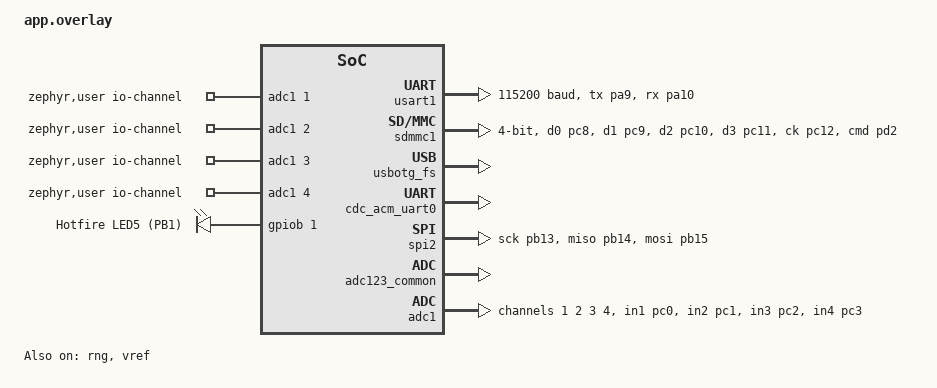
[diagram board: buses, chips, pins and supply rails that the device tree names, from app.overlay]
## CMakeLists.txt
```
cmake_minimum_required(VERSION 3.20.0)
find_package(Zephyr REQUIRED HINTS $ENV{ZEPHYR_BASE})
project(hotfire_logger)

target_sources(app PRIVATE
    src/main.cpp
    src/bsp.cpp
    src/app/fsm.cpp
    # Drivers
    src/drivers/led.cpp
    src/drivers/uart.cpp
    src/drivers/sd.cpp
    src/drivers/rtc.cpp
    src/drivers/thermocouples.cpp
    src/drivers/pressure.cpp
    src/app/fsm.cpp
    # States
    src/app/state/init_state.cpp
    src/app/state/led_on_state.cpp
    src/app/state/led_off_state.cpp
    src/app/state/error_state.cpp
    # Tasks
    src/app/telemetry.cpp
    src/app/rtc_uart.cpp
    src/app/sensor_logging.cpp
    # Shell Commands
    src/shell/disk.cpp
    src/shell/daq.cpp
    src/shell/sys.cpp
)

target_include_directories(app PRIVATE
    include
)
```

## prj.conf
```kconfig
# GPIO
CONFIG_GPIO=y

# C++17
CONFIG_CPP=y
CONFIG_STD_CPP17=y

# State Machine Framework
CONFIG_SMF=y

# UART Drivers
CONFIG_SERIAL=y
# USB CDC shell uses the interrupt API; USART1 exclusively uses async DMA.
CONFIG_UART_INTERRUPT_DRIVEN=y
CONFIG_UART_ASYNC_API=y
CONFIG_DMA=y
CONFIG_UART_LINE_CTRL=y

# Native USB CDC ACM
CONFIG_USB_DEVICE_STACK_NEXT=y
CONFIG_CDC_ACM_SERIAL_INITIALIZE_AT_BOOT=y
# Avoid recursive driver logging through the USB CDC shell backend.
CONFIG_USBD_CDC_ACM_LOG_LEVEL_OFF=y

# Zephyr Shell over USB CDC
CONFIG_SHELL=y
CONFIG_SHELL_BACKEND_SERIAL=y
CONFIG_SHELL_BACKEND_SERIAL_CHECK_DTR=y
CONFIG_SHELL_LOG_BACKEND=y
CONFIG_SHELL_PROMPT_UART="daq:~$ "

# Logging through the shell
CONFIG_LOG=y
CONFIG_LOG_MODE_DEFERRED=y
CONFIG_LOG_DEFAULT_LEVEL=3
CONFIG_LOG_PRINTK=y

# Avoid competing console backends
CONFIG_CONSOLE=n
CONFIG_UART_CONSOLE=n

# Optional diagnostics
CONFIG_KERNEL_SHELL=y
CONFIG_THREAD_MONITOR=y
CONFIG_THREAD_NAME=y
CONFIG_THREAD_STACK_INFO=y
CONFIG_INIT_STACKS=y
CONFIG_HWINFO=y
CONFIG_DEVICE_SHELL=y

# RTC calendar and shell commands (set the clock in UTC)
CONFIG_RTC=y
CONFIG_RTC_SHELL=y
CONFIG_ENTROPY_GENERATOR=y

# Kernel
# Main owns the RTC command parser; UART DMA buffers have static lifetime.
CONFIG_MAIN_STACK_SIZE=4096
# Keep UART/heartbeat/USB work preemptible by the 1 kHz pressure worker (priority 1).
CONFIG_MAIN_THREAD_PRIORITY=3
CONFIG_SYSTEM_WORKQUEUE_PRIORITY=4
# UART DMA setup/recovery now runs through the system workqueue.
CONFIG_SYSTEM_WORKQUEUE_STACK_SIZE=2048
CONFIG_SYS_CLOCK_TICKS_PER_SEC=10000
CONFIG_REBOOT=y

# Disk access and STM32 SDMMC
CONFIG_DISK_ACCESS=y
CONFIG_DISK_DRIVER_SDMMC=y
CONFIG_SDMMC_STM32=y

# File system
CONFIG_FILE_SYSTEM=y
CONFIG_FAT_FILESYSTEM_ELM=y
CONFIG_FS_FATFS_HAS_RTC=y
# Timestamped session directories exceed FAT's 8.3 filename limit.
CONFIG_FS_FATFS_LFN=y
CONFIG_FS_FATFS_LFN_MODE_STACK=y
CONFIG_FS_FATFS_MAX_LFN=64
CONFIG_FS_FATFS_REENTRANT=y

# Never automatically format the card
CONFIG_FS_FATFS_MOUNT_MKFS=n

# File system commands over Zephyr Shell
CONFIG_FILE_SYSTEM_SHELL=y

# MAX31856 thermocouple amplifiers
CONFIG_SPI=y
CONFIG_SPI_STM32_DMA=y

# Four 4-20 mA pressure inputs on ADC1, PC0..PC3.
CONFIG_ADC=y
CONFIG_ADC_STM32_VREFINT_CALIBRATE=y
```

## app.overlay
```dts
#include <zephyr/dt-bindings/gpio/gpio.h>
#include <zephyr/dt-bindings/adc/adc.h>
#include <zephyr/dt-bindings/dma/stm32_dma.h>

/ {
    zephyr,user {
        /* P0/J5, P1/J9, P2/J10, P3/J7. */
        io-channels = <&adc1 1>, <&adc1 2>, <&adc1 3>, <&adc1 4>;
    };
    /* Hotfire data logger: LED5 is PB1 -> R61 -> LED -> GND. */
    leds {
        hotfire_led: hotfire_led {
            gpios = <&gpiob 1 GPIO_ACTIVE_HIGH>;
            label = "Hotfire LED5 (PB1)";
        };
    };

    aliases {
        led0 = &hotfire_led;
        telemetry-uart = &usart1;
    };

    chosen {
        zephyr,shell-uart = &cdc_acm_uart0;
    };
};

&usart1 {
    /* USART1 request 2: keep DMA1 channels 4/5 free for SPI2. */
    dmas = <&dma2 6 2 (STM32_DMA_PERIPH_TX | STM32_DMA_PRIORITY_HIGH)>,
           <&dma2 7 2 (STM32_DMA_PERIPH_RX | STM32_DMA_PRIORITY_HIGH)>;
    dma-names = "tx", "rx";
    pinctrl-0 = <&usart1_tx_pa9 &usart1_rx_pa10>;
    pinctrl-names = "default";

    current-speed = <115200>;
    status = "okay";
};

/* Onboard microSD: D0-D3 on PC8-PC11, CLK on PC12, CMD on PD2. */
&sdmmc1 {
    pinctrl-0 = <&sdmmc1_d0_pc8 &sdmmc1_d1_pc9
                 &sdmmc1_d2_pc10 &sdmmc1_d3_pc11
                 &sdmmc1_ck_pc12 &sdmmc1_cmd_pd2>;
    pinctrl-names = "default";
    bus-width = <4>;
    disk-name = "SD";
    /* R23 pulls SD_DET high; the socket switch grounds PC7 when inserted. */
    cd-gpios = <&gpioc 7 GPIO_ACTIVE_LOW>;
    status = "okay";
};

/* The custom board uses STM32L496RE (512 KiB), not ZG (1 MiB). */
&flash0 {
    reg = <0x08000000 0x00080000>;
    ranges = <0 0x08000000 0x00080000>;
};

/* Disable Nucleo-only peripherals/pins for this initial bring-up. */
&usart2 { status = "disabled"; };
&usart3 { status = "disabled"; };
&lpuart1 { status = "disabled"; };
&spi1 { status = "disabled"; };
&i2c1 { status = "disabled"; };
&timers1 { status = "disabled"; };
&timers2 { status = "disabled"; };
&timers15 { status = "disabled"; };

&usbotg_fs {
    status = "okay";
};

/* Hardware random IDs for independent SD log sessions. */
&rng { status = "okay"; };

&zephyr_udc0 {
    cdc_acm_uart0: cdc_acm_uart0 {
        compatible = "zephyr,cdc-acm-uart";
        label = "DAQ USB";
    };
};

/* Shared SPI bus for MAX31856 U6-U9 */
&dma1 { status = "okay"; };
&dma2 { status = "okay"; };

&spi2 {
    /* SPI2 request 1, DMA1 channels 4 (RX) and 5 (TX). */
    dmas = <&dma1 4 1 (STM32_DMA_PERIPH_RX | STM32_DMA_PRIORITY_HIGH)>,
           <&dma1 5 1 (STM32_DMA_PERIPH_TX | STM32_DMA_PRIORITY_MEDIUM)>;
    dma-names = "rx", "tx";
    pinctrl-0 = <
        &spi2_sck_pb13
        &spi2_miso_pb14
        &spi2_mosi_pb15
    >;
    pinctrl-names = "default";

    status = "okay";
};

/* 80 MHz bus / 4 = 20 MHz ADC clock; VREF+ is tied to the 3V3 rail. */
&adc123_common {
    st,adc-clock-source = "SYNC";
    st,adc-prescaler = <4>;
    vref-mv = <3300>;
    status = "okay";
};

/* Enable the factory VREFINT description used for ADC rail calibration. */
&vref { status = "okay"; };

&adc1 {
    pinctrl-0 = <&adc1_in1_pc0 &adc1_in2_pc1 &adc1_in3_pc2 &adc1_in4_pc3>;
    pinctrl-names = "default";
    status = "okay";
    #address-cells = <1>;
    #size-cells = <0>;

    /* Long acquisition time for the 4.7k / 0.1uF input filters. */
    channel@1 {
        reg = <1>;
        zephyr,gain = "ADC_GAIN_1";
        zephyr,reference = "ADC_REF_INTERNAL";
        zephyr,acquisition-time = <ADC_ACQ_TIME(ADC_ACQ_TIME_TICKS, 641)>;
        zephyr,resolution = <12>;
    };
    channel@2 {
        reg = <2>;
        zephyr,gain = "ADC_GAIN_1";
        zephyr,reference = "ADC_REF_INTERNAL";
        zephyr,acquisition-time = <ADC_ACQ_TIME(ADC_ACQ_TIME_TICKS, 641)>;
        zephyr,resolution = <12>;
    };
    channel@3 {
        reg = <3>;
        zephyr,gain = "ADC_GAIN_1";
        zephyr,reference = "ADC_REF_INTERNAL";
        zephyr,acquisition-time = <ADC_ACQ_TIME(ADC_ACQ_TIME_TICKS, 641)>;
        zephyr,resolution = <12>;
    };
    channel@4 {
        reg = <4>;
        zephyr,gain = "ADC_GAIN_1";
        zephyr,reference = "ADC_REF_INTERNAL";
        zephyr,acquisition-time = <ADC_ACQ_TIME(ADC_ACQ_TIME_TICKS, 641)>;
        zephyr,resolution = <12>;
    };
};
```

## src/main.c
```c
#include <zephyr/kernel.h>
#include <zephyr/drivers/gpio.h>

#define LED_NODE DT_ALIAS(led0)

static const struct gpio_dt_spec led = GPIO_DT_SPEC_GET(LED_NODE, gpios);

int main(void) {
    if (!gpio_is_ready_dt(&led)) return -1;

    if (gpio_pin_configure_dt(&led, GPIO_OUTPUT_INACTIVE) < 0) return -1;

    while (1) {
        gpio_pin_toggle_dt(&led);
        k_msleep(500);
    }

    return 0;
}
```

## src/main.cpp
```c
#include <zephyr/kernel.h>
#include <zephyr/logging/log.h>

#include <stdio.h>

#include "bsp.hpp"
#include "drivers/led.hpp"
#include "drivers/thermocouples.hpp"
#include "drivers/pressure.hpp"
#include "drivers/uart.hpp"
#include "drivers/sd.hpp"
#include "shell/daq.hpp"
#include "app/fsm.hpp"
#include "app/telemetry.hpp"
#include "app/rtc_uart.hpp"
#include "app/sensor_logging.hpp"

LOG_MODULE_REGISTER(daq, LOG_LEVEL_INF);

namespace {
// DMA buffers and work contexts persist for the lifetime of the driver.
UART uart(bsp::uart1);
}

int main()
{
    LOG_INF("STM32L496 Data Logger Starting");

    (void)storage::append_startup_record();

    LED status_led(bsp::user_led);
    FSM fsm(status_led);
    Thermocouples thermocouples;
    PressureTransducers pressure;

    int uart_ret = uart.init();

    if (uart_ret < 0) {
        LOG_ERR("USART1 initialization failed: %d", uart_ret);

        (void)storage::log_status(
            storage::LogLevel::Error,
            "USART1 initialization failed"
        );

        return uart_ret;
    }

    LOG_INF("USART1 initialized");

    (void)storage::log_status(
        storage::LogLevel::Info,
        "USART1 initialized"
    );

    k_mutex tx_mutex;
    k_mutex_init(&tx_mutex);
    RtcUart rtc_uart(uart, tx_mutex);

    TelemetryTask telemetry(uart, tx_mutex);

    int telemetry_ret = telemetry.start();

    if (telemetry_ret < 0) {
        LOG_ERR("Telemetry task failed: %d", telemetry_ret);

        (void)storage::log_status(
            storage::LogLevel::Error,
            "Telemetry task initialization failed"
        );

        return telemetry_ret;
    }

    LOG_INF("Periodic telemetry started");

    (void)storage::log_status(
        storage::LogLevel::Info,
        "Periodic telemetry started"
    );

    int thermo_ret = thermocouples.init();


    if (thermo_ret < 0) {
        LOG_ERR(
            "MAX31856 initialization failed: %d",
            thermo_ret
        );

        (void)storage::log_status(
            storage::LogLevel::Error,
            "MAX31856 initialization failed"
        );

    } else {

        LOG_INF("All four MAX31856 amplifiers ready");

        (void)storage::log_status(
            storage::LogLevel::Info,
            "MAX31856 amplifiers initialized"
        );
    }

    daq_shell_bind_thermocouples(thermocouples);

    int pressure_ret = pressure.init();
    if (pressure_ret < 0) {
        LOG_ERR("Pressure ADC initialization failed: %d", pressure_ret);
        (void)storage::log_status(storage::LogLevel::Error,
                                 "Pressure ADC initialization failed; affected channels will be blank");
    } else {
        LOG_INF("All four pressure ADC inputs initialized");
        (void)storage::log_status(storage::LogLevel::Info,
                                 "Pressure ADC inputs initialized (PC0-PC3, 130 ohm shunts)");
    }

    daq_shell_bind_pressure(pressure);

    // A failed sensor group must not prevent the other group from logging.
    int logger_ret = sensor_logging::initialize(thermocouples, pressure);
    if (logger_ret < 0) {
        LOG_ERR("Sensor logger initialization failed: %d", logger_ret);
    } else {
        LOG_INF("Sensor logging task initialized");
    }

    fsm.start();

    LOG_INF("Application FSM started");

    (void)storage::log_status(
        storage::LogLevel::Info,
        "Application FSM started"
    );

    int present = storage::card_present();

    if (present == 1) {

        LOG_INF("SD card detected on PC7");

        int sd_ret = storage::mount_sd();

        if (sd_ret < 0) {
            LOG_ERR("SD mount failed: %d", sd_ret);

            (void)storage::log_status(
                storage::LogLevel::Error,
                "SD mount failed"
            );
        } else {
            LOG_INF("SD mounted; queued logs draining");

            // Begin acquisition as soon as the startup SD session is ready.
            // start() also verifies that sensor logging initialized successfully.
            int start_ret = sensor_logging::start();

            if (start_ret < 0) {
                LOG_ERR("Automatic sensor logging start failed: %d", start_ret);

                (void)storage::log_status(
                    storage::LogLevel::Error,
                    "Automatic sensor logging start failed"
                );
            } else {
                LOG_INF("Sensor logging targets: temperature 10 Hz, pressure 1000 Hz");

                (void)storage::log_status(
                    storage::LogLevel::Info,
                    "Sensor logging started at boot (temperature 10 Hz, pressure 1000 Hz)"
                );
            }
        }

    } else if (present == 0) {

        LOG_WRN("No SD card inserted; automatic sensor logging skipped");

        (void)storage::log_status(
            storage::LogLevel::Info,
            "No SD card detected at startup"
        );

    } else {

        LOG_ERR("SD card-detect GPIO error: %d", present);

        (void)storage::log_status(
            storage::LogLevel::Error,
            "SD card detection failed"
        );
    }

    LOG_INF("DAQ application ready");

    (void)storage::log_status(
        storage::LogLevel::Info,
        "DAQ application ready"
    );

    while (true) {

        fsm.step();

        rtc_uart.poll();

        k_msleep(10);
    }

    return 0;
}
```

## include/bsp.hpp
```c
#ifndef BSP_HPP
#define BSP_HPP

#include <zephyr/device.h>
#include <zephyr/drivers/gpio.h>

namespace bsp {

extern const gpio_dt_spec user_led;
extern const device* const uart1;

} // namespace bsp

#endif // BSP_HPP
```

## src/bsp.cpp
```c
#include "bsp.hpp"

#include <zephyr/devicetree.h>

namespace bsp {

const gpio_dt_spec user_led = GPIO_DT_SPEC_GET(DT_ALIAS(led0), gpios);
const device* const uart1 = DEVICE_DT_GET(DT_ALIAS(telemetry_uart));

} // namespace bsp
```
